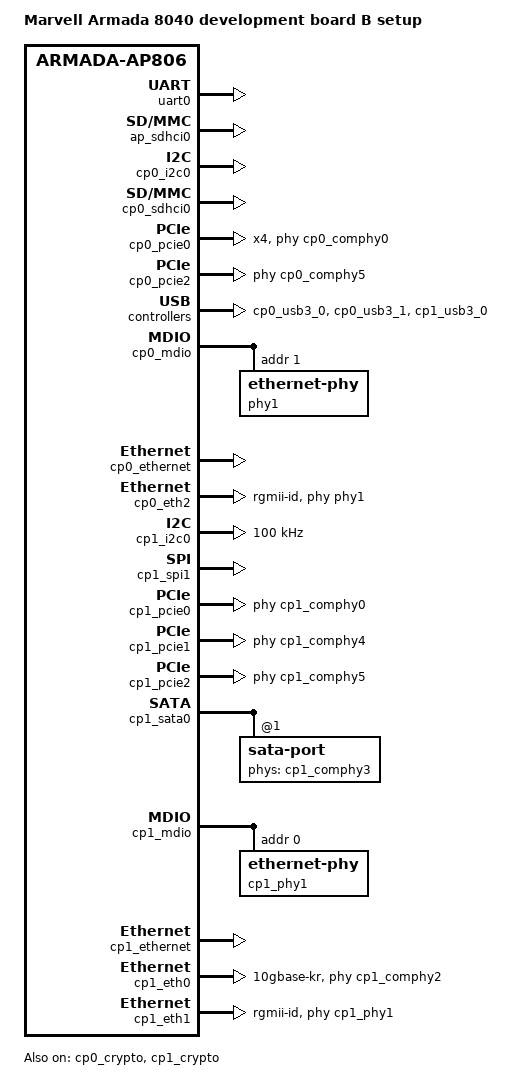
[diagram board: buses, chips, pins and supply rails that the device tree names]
// SPDX-License-Identifier: (GPL-2.0+ OR MIT)
/*
 * Device Tree file for Marvell Armada 8040 development board
 * This file supports option B configuration
 * AP_UART,AP_eMMC,CP0_I2C,CP0_eMMC,CP0_RGMII1,CP1_SPI(Boot),CP1_RGMII0
 */

#include "armada-8040-db.dtsi"

/ {
	model = "Marvell Armada 8040 development board B setup";
	compatible = "marvell,armada8040-db-B", "marvell,armada8040-db",
		"marvell,armada8040", "marvell,armada-ap806-quad",
		"marvell,armada-ap806";

	chosen {
		stdout-path = "serial0:115200n8";
	};

	aliases {
		ethernet0 = &cp0_eth2;
		ethernet1 = &cp1_eth0;
		ethernet2 = &cp1_eth1;
	};
};

&uart0 {
	status = "okay";
};

&ap_sdhci0 {
	status = "okay";
};

&cp0_i2c0 {
	status = "okay";
};

&cp0_sdhci0 {
	status = "okay";
};

/* CON6 on CP0 expansion */
&cp0_pcie0 {
	num-lanes = <4>;
	status = "okay";
	/* Generic PHY, providing serdes lanes */
	phys = <&cp0_comphy0 0
		&cp0_comphy1 0
		&cp0_comphy2 0
		&cp0_comphy3 0>;
};

/* CON5 on CP0 expansion */
&cp0_pcie2 {
	status = "okay";
	phys = <&cp0_comphy5 2>;
};

/* CON9 on CP0 expansion */
&cp0_usb3_0 {
	status = "okay";
};

/* CON10 on CP0 expansion */
&cp0_usb3_1 {
	status = "okay";
};

&cp0_mdio {
	status = "okay";

	phy1: ethernet-phy@1 {
		reg = <1>;
	};
};

&cp0_ethernet {
	status = "okay";
};

&cp0_eth2 {
	status = "okay";
	phy = <&phy1>;
	phy-mode = "rgmii-id";
};

&cp1_i2c0 {
	status = "okay";
	clock-frequency = <100000>;
};

&cp1_spi1 {
	status = "okay";
};

/* CON6 on CP1 expansion */
&cp1_pcie0 {
	status = "okay";
	phys = <&cp1_comphy0 0>;
};

/* CON7 on CP1 expansion */
&cp1_pcie1 {
	status = "okay";
	phys = <&cp1_comphy4 1>;
};

/* CON5 on CP1 expansion */
&cp1_pcie2 {
	status = "okay";
	phys = <&cp1_comphy5 2>;
};

/* CON4 on CP1 expansion */
&cp1_sata0 {
	status = "okay";

	/* CON4 on CP1 expansion */
	sata-port@1 {
		status = "okay";
		/* Generic PHY, providing serdes lanes */
		phys = <&cp1_comphy3 1>;
	};
};

/* CON9 on CP1 expansion */
&cp1_usb3_0 {
	status = "okay";
};

&cp1_mdio {
	status = "okay";

	cp1_phy1: ethernet-phy@2 {
		reg = <0>;
	};
};

&cp1_ethernet {
	status = "okay";
};

&cp1_eth0 {
	status = "okay";
	phy-mode = "10gbase-kr";
	/* Generic PHY, providing serdes lanes */
	phys = <&cp1_comphy2 0>;
	managed = "in-band-status";
	sfp = <&sfp_eth1>;
};

&cp1_eth1 {
	status = "okay";
	phy = <&cp1_phy1>;
	phy-mode = "rgmii-id";
};

&cp0_crypto {
	status = "okay";
};

&cp1_crypto {
	status = "okay";
};
